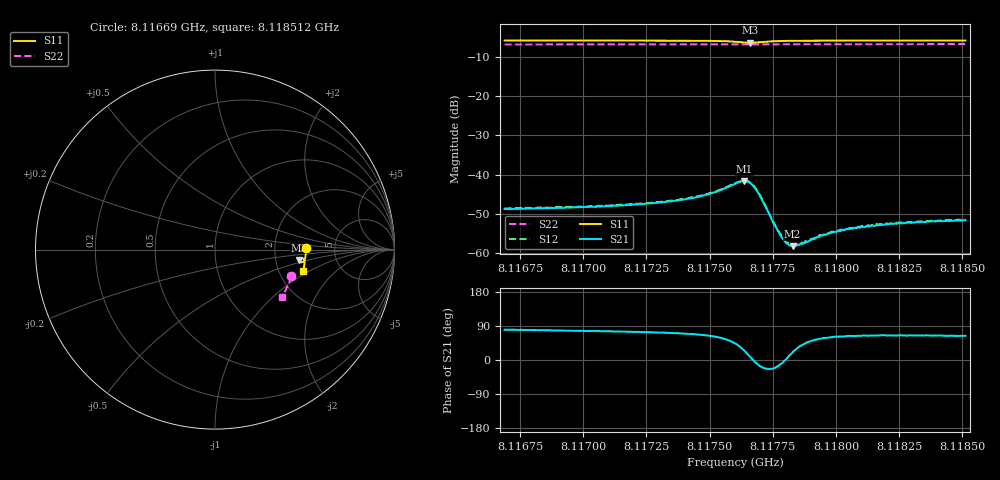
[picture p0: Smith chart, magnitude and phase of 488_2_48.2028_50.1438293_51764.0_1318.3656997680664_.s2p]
#  HZ  S  RI  R  50.00
! Rohde & Schwarz Vector Network Analyzer
! Rohde-Schwarz,ZNB20-2Port,1311601062101988,3.16
! Created: UTC 3/20/2024, 11:57:57 AM
! freq[Hz]  re:S11  im:S11  re:S21  im:S21  re:S12  im:S12  re:S22  im:S22
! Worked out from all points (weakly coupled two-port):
!   401 points, 8.11669 GHz to 8.118512 GHz, reference 50 ohm
!   highest |S21| = -41.63 dB at 8.117637 GHz (marker M1); lowest = -58.2 dB at 8.117828 GHz (marker M2)
!   lowest |S11| = -6.5 dB at 8.11766 GHz (marker M3), VSWR 2.80, Z = 136 - j20.5 ohm
!   |S11| at or under -10 dB: nowhere
!   |S22| runs from -6.9 to -6.8 dB; largest |S21 - S12| = 0.0002
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8.1166895e9  0.5068 0.00769  0.000645 0.00362  0.00067 0.00367  0.4255 -0.1479
8.1169948e9  0.5061 -0.0159  0.000871 0.00377  0.000926 0.00381  0.419 -0.168
8.1173e9  0.5036 -0.041  0.00135 0.00423  0.00141 0.00426  0.4113 -0.1878
8.117464e9  0.4998 -0.0566  0.00211 0.00486  0.00223 0.00491  0.4066 -0.1988
8.1175323e9  0.4953 -0.0646  0.00306 0.00537  0.00314 0.00546  0.4046 -0.2031
8.1176007e9  0.4836 -0.0711  0.00551 0.00532  0.00567 0.0054  0.402 -0.2072
8.1176371e9  0.4729 -0.0668  0.0075 0.00353  0.0077 0.00352  0.4005 -0.2093
8.1176599e9  0.4698 -0.0582  0.00776 0.00121  0.00795 0.00124  0.3999 -0.2102
8.1176781e9  0.4726 -0.0511  0.00685 -0.0005  0.00703 -0.000537  0.3995 -0.2109
8.1176963e9  0.4784 -0.0472  0.00543 -0.00139  0.00552 -0.00145  0.3994 -0.2118
8.1177601e9  0.4938 -0.0525  0.00207 -0.000769  0.00209 -0.000796  0.398 -0.2163
8.1177874e9  0.4963 -0.0566  0.00154 -0.000225  0.00159 -0.000228  0.3972 -0.2179
8.1177966e9  0.4969 -0.058  0.00143 -4.63e-05  0.00145 -7.8e-05  0.3969 -0.2186
8.1178102e9  0.4975 -0.0599  0.00132 0.000177  0.00136 0.000157  0.3966 -0.2195
8.1178284e9  0.498 -0.0623  0.00116 0.000435  0.0012 0.000464  0.3962 -0.2207
8.1178512e9  0.4986 -0.065  0.00106 0.000698  0.00111 0.000685  0.3954 -0.2222
8.1179059e9  0.4989 -0.0712  0.000948 0.0012  0.000932 0.00119  0.3938 -0.2256
8.1179742e9  0.4986 -0.0779  0.000921 0.00155  0.00089 0.00158  0.3914 -0.23
8.1180335e9  0.498 -0.0833  0.000941 0.00174  0.000966 0.0018  0.3893 -0.2337
8.1181018e9  0.4971 -0.089  0.000944 0.00193  0.000968 0.002  0.3871 -0.2378
8.1182111e9  0.4956 -0.0978  0.00101 0.00212  0.00105 0.00214  0.3834 -0.2445
8.1185118e9  0.4904 -0.1209  0.00117 0.00237  0.0012 0.00242  0.3721 -0.2624
